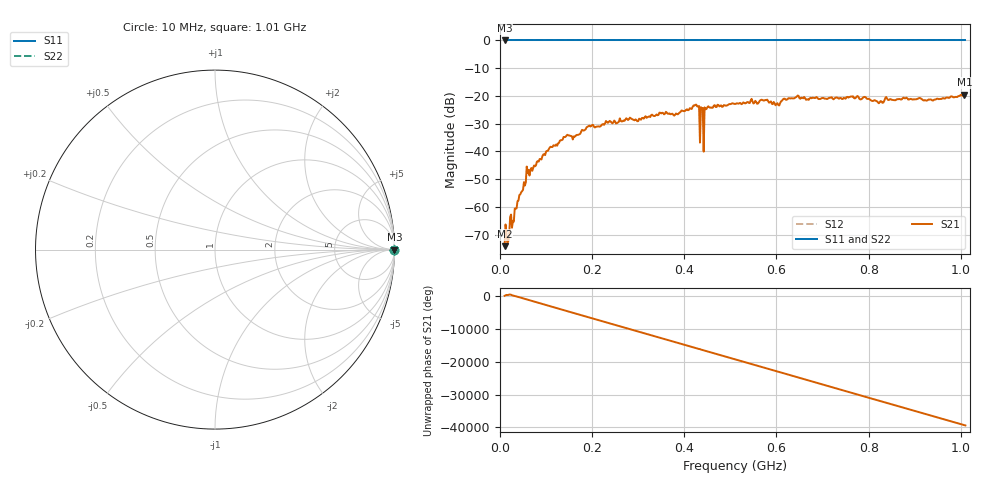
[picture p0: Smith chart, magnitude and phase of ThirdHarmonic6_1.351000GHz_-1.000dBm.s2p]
! 8/16/2025 3:12:44 PM
! C:\ANRITSUVNA\TEMP\TEMP.S2P
! CHANNEL.1
! TR.MEASUREMENT
! RAW.DATA
! RF.CORRECTION.OFF
! AVERAGING.OFF
! IF.BANDWIDTH: 5KHZ
! SWEEPTYPE:  FREQ.SWEEP(Linear)
! Reference Plane Port Info
! PORT:  PORT1  PORT2
! DISTANCE:  0  m  0  m
! TIME:  0  s  0  s
! PHASE.OFFSET:  0  deg.  0  deg.
! LOSS:  0  dB  0  dB
! REF.LOSS:  0  dB  0  dB
! REF.FREQ:  0  Hz  0  Hz
! Power Info
! POWER:  -20  dBm  -20  dBm
! EFF.POWER:  -20  dBm  -20  dBm
! SOURCE.ATTEN:  0  dB  0  dB
! TEST.ATTEN:  0  dB  0  dB
# GHZ S RI R 50.0
! FREQ.GHZ  S11RE  S11IM  S21RE  S21IM  S12RE  S12IM  S22RE  S22IM
!; PortSelection: Port_12
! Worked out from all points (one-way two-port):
!   501 points, 10 MHz to 1.01 GHz, reference 50 ohm
!   highest |S21| = -19.50 dB at 1.008 GHz (marker M1); lowest = -74.2 dB at 10 MHz (marker M2)
!   lowest |S11| = 0.0 dB at 10 MHz (marker M3)
!   |S11| at or under -10 dB: nowhere
!   |S22| runs from 0.0 to 0.0 dB; largest |S21 - S12| = 1.1
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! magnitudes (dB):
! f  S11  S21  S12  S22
! 10 MHz  0.0  -74.2  0.0  0.0
! 18 MHz  0.0  -72.4  0.0  0.0
! 62 MHz  0.0  -46.6  0.0  0.0
! 142 MHz  0.0  -34.8  0.0  0.0
! 178 MHz  0.0  -32.2  0.0  0.0
! 344 MHz  0.0  -26.9  0.0  0.0
! 382 MHz  0.0  -26.3  0.0  0.0
! 428 MHz  0.0  -23.8  0.0  0.0
! 430 MHz  0.0  -23.9  0.0  0.0
! 436 MHz  0.0  -24.1  0.0  0.0
! 438 MHz  0.0  -24.4  0.0  0.0
! 440 MHz  0.0  -24.3  0.0  0.0
! 446 MHz  0.0  -24.8  0.0  0.0
! 448 MHz  0.0  -24.7  0.0  0.0
! 510 MHz  0.0  -22.9  0.0  0.0
! 576 MHz  0.0  -21.5  0.0  0.0
! 602 MHz  0.0  -22.6  0.0  0.0
! 644 MHz  0.0  -20.3  0.0  0.0
! 678 MHz  0.0  -20.6  0.0  0.0
! 844 MHz  0.0  -21.5  0.0  0.0
! 1.008 GHz  0.0  -19.5  0.0  0.0
! 1.01 GHz  0.0  -20.2  0.0  0.0
